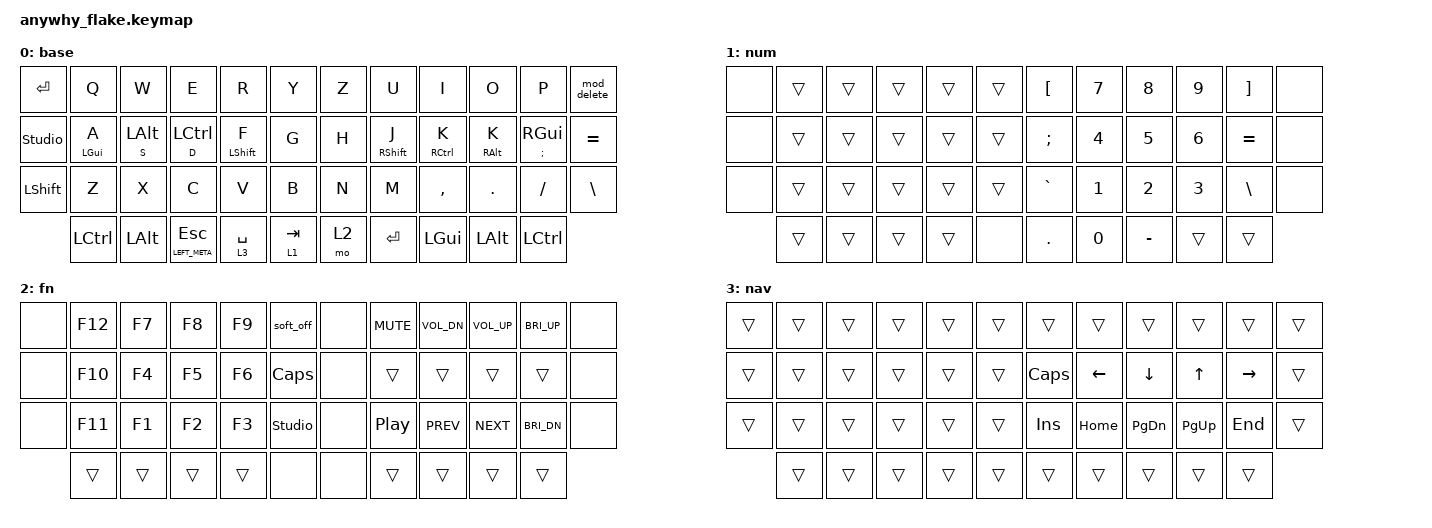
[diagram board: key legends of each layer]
#include <behaviors.dtsi>
#include <dt-bindings/zmk/bt.h>
#include <dt-bindings/zmk/keys.h>

/ {
    behaviors {
        hm_l: hm_l {
            compatible = "zmk,behavior-hold-tap";
            label = "HM_L";
            bindings = <&kp>, <&kp>;

            #binding-cells = <2>;
            tapping-term-ms = <300>;
            quick-tap-ms = <175>;
            require-prior-idle-ms = <150>;
            flavor = "balanced";
            hold-trigger-key-positions = <6 7 8 9 10 11 18 19 20 21 22 23 30 31 32 33 34 35 41 42 43 44 45 36 38 39 40 37>;
            hold-trigger-on-release;
        };

        hm_r: hm_r {
            compatible = "zmk,behavior-hold-tap";
            label = "HM_R";
            bindings = <&kp>, <&kp>;

            #binding-cells = <2>;
            tapping-term-ms = <300>;
            quick-tap-ms = <175>;
            require-prior-idle-ms = <150>;
            flavor = "balanced";
            hold-trigger-key-positions = <0 1 2 3 4 5 12 13 14 15 16 17 24 25 26 27 28 29 36 37 38 39 40 41 42 44 45 43>;
            hold-trigger-on-release;
        };

        hm_l_shift: hm_l_shift {
            compatible = "zmk,behavior-hold-tap";
            label = "HM_L_SHIFT";
            bindings = <&kp>, <&kp>;

            #binding-cells = <2>;
            tapping-term-ms = <200>;
            hold-trigger-on-release;
            flavor = "balanced";
            hold-trigger-key-positions = <6 7 8 9 10 11 18 19 20 21 22 23 30 31 32 33 34 35 41 42 43 44 45 38 39 40 36 37>;
            quick-tap-ms = <175>;
            require-prior-idle-ms = <150>;
        };

        hm_r_shift: hm_r_shift {
            compatible = "zmk,behavior-hold-tap";
            label = "HM_R_SHIFT";
            bindings = <&kp>, <&kp>;

            #binding-cells = <2>;
            tapping-term-ms = <200>;
            quick-tap-ms = <175>;
            require-prior-idle-ms = <150>;
            flavor = "balanced";
            hold-trigger-key-positions = <0 1 2 3 4 5 12 13 14 15 16 17 24 25 26 27 28 29 36 37 38 39 40 41 45 43 42 44>;
            hold-trigger-on-release;
        };

        mod_delete: mod_delete {
            compatible = "zmk,behavior-mod-morph";
            label = "MOD_DELETE";
            bindings = <&kp BACKSPACE>, <&kp DELETE>;

            #binding-cells = <0>;
            mods = <(MOD_LALT|MOD_RALT)>;
        };
    };

    combos {
        compatible = "zmk,combos";

        qw_esc {
            bindings = <&kp ESCAPE>;
            key-positions = <1 2>;
            timeout-ms = <50>;
        };
    };

    macros {
        bt_clr_0: bt_clr_0 {
            compatible = "zmk,behavior-macro";
            #binding-cells = <0>;
            bindings = <&bt BT_SEL 0 &bt BT_CLR>;
            label = "BT_CLR_0";
        };

        bt_clr_1: bt_clr_1 {
            compatible = "zmk,behavior-macro";
            #binding-cells = <0>;
            bindings = <&bt BT_SEL 1 &bt BT_CLR>;
            label = "BT_CLR_1";
        };

        bt_clr_2: bt_clr_2 {
            compatible = "zmk,behavior-macro";
            #binding-cells = <0>;
            bindings = <&bt BT_SEL 2 &bt BT_CLR>;
            label = "BT_CLR_2";
        };

        bt_clr_3: bt_clr_3 {
            compatible = "zmk,behavior-macro";
            #binding-cells = <0>;
            bindings = <&bt BT_SEL 3 &bt BT_CLR>;
            label = "BT_CLR_3";
        };

        bt_clr_4: bt_clr_4 {
            compatible = "zmk,behavior-macro";
            #binding-cells = <0>;
            bindings = <&bt BT_SEL 4 &bt BT_CLR>;
            label = "BT_CLR_4";
        };

        xw_save: xw_save {
            compatible = "zmk,behavior-macro";
            #binding-cells = <0>;
            bindings = <&kp COLON &kp W &kp ENTER>;
            label = "XW_SAVE";
        };
    };

    keymap {
        compatible = "zmk,keymap";

        base {
            bindings = <
&kp ENTER       &kp Q             &kp W             &kp E                 &kp R                     &kp Y        &kp Z  &kp U                      &kp I          &kp O              &kp P                      &mod_delete
&studio_unlock  &hm_l LEFT_GUI A  &hm_l S LEFT_ALT  &hm_l D LCTRL         &hm_l_shift LEFT_SHIFT F  &kp G        &kp H  &hm_r_shift RIGHT_SHIFT J  &hm_r RCTRL K  &hm_r RIGHT_ALT K  &hm_r SEMICOLON RIGHT_GUI  &kp EQUAL
&kp LEFT_SHIFT  &kp Z             &kp X             &kp C                 &kp V                     &kp B        &kp N  &kp M                      &kp COMMA      &kp DOT            &kp FSLH                   &kp BACKSLASH
                &kp LCTRL         &kp LALT          &mt LEFT_META ESCAPE  &lt 3 SPACE               &lt 1 TAB    &mo 2  &kp ENTER                  &kp LGUI       &kp LALT           &kp LCTRL
            >;
        };

        num {
            bindings = <
&none  &trans  &trans  &trans  &trans  &trans    &kp LEFT_BRACKET  &kp N7  &kp N8     &kp N9  &kp RIGHT_BRACKET  &none
&none  &trans  &trans  &trans  &trans  &trans    &kp SEMICOLON     &kp N4  &kp N5     &kp N6  &kp EQUAL          &none
&none  &trans  &trans  &trans  &trans  &trans    &kp GRAVE         &kp N1  &kp N2     &kp N3  &kp BSLH           &none
       &trans  &trans  &trans  &trans  &none     &kp PERIOD        &kp N0  &kp MINUS  &trans  &trans
            >;
        };

        fn {
            bindings = <
&none  &kp F12  &kp F7  &kp F8  &kp F9  &soft_off         &none  &kp C_MUTE  &kp C_VOL_DN  &kp C_VOL_UP  &kp C_BRI_UP  &none
&none  &kp F10  &kp F4  &kp F5  &kp F6  &kp CAPS          &none  &trans      &trans        &trans        &trans        &none
&none  &kp F11  &kp F1  &kp F2  &kp F3  &studio_unlock    &none  &kp C_PP    &kp C_PREV    &kp C_NEXT    &kp C_BRI_DN  &none
       &trans   &trans  &trans  &trans  &none             &none  &trans      &trans        &trans        &trans
            >;
        };

        nav {
            bindings = <
&trans  &trans  &trans  &trans  &trans  &trans    &trans        &trans          &trans         &trans        &trans           &trans
&trans  &trans  &trans  &trans  &trans  &trans    &kp CAPSLOCK  &kp LEFT_ARROW  &kp DOWN       &kp UP_ARROW  &kp RIGHT_ARROW  &trans
&trans  &trans  &trans  &trans  &trans  &trans    &kp INSERT    &kp HOME        &kp PAGE_DOWN  &kp PAGE_UP   &kp END          &trans
        &trans  &trans  &trans  &trans  &trans    &trans        &trans          &trans         &trans        &trans
            >;
        };
    };
};
